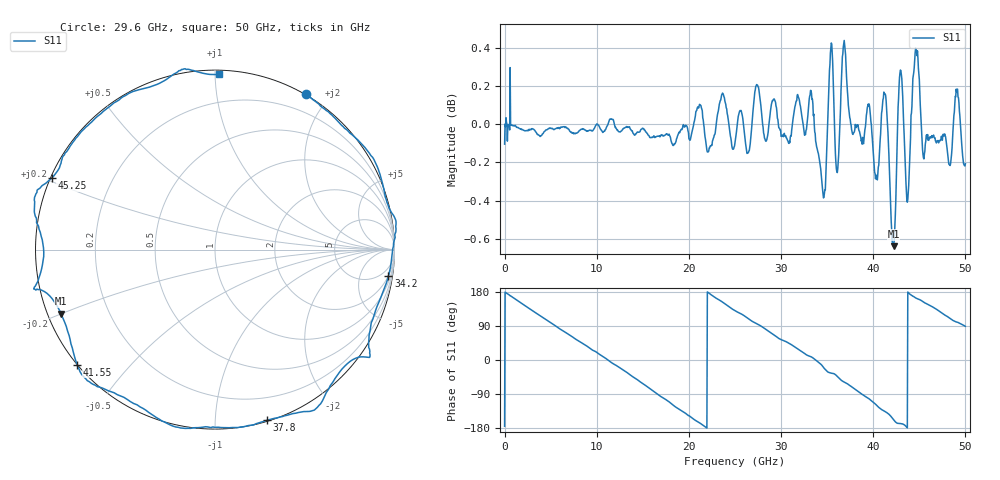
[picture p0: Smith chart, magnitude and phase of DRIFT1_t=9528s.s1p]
!Created with skrf (http://scikit-rf.org).
# Hz S RI R 50.0
!freq ReS11 ImS11
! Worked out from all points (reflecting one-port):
!   1001 points, 300 kHz to 50 GHz, reference 50 ohm
!   lowest |S11| = -0.6 dB at 42.2 GHz (marker M1), VSWR 27.24, Z = 1.91 - j9.96 ohm
!   phase of S11 starts at -175 deg and turns -816 deg over the sweep
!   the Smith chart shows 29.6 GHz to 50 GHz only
!   S11 on the Smith chart (normalised r, x): 29.6 GHz: -0.01, +1.74; 34.2 GHz: 2, -13; 37.8 GHz: 0.01, -1.35; 41.55 GHz: -0.00, -0.36; 45.25 GHz: 0.00, +0.21; 50 GHz: 0.02, +1.02
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300000  -0.9842 -0.0862
1.500291e9  -0.9057 0.4188
3.30028e9  -0.5805 0.8094
6.250262e9  0.2025 0.9776
9.500243e9  0.892 0.4431
1.250022e10  0.9319 -0.3492
1.580021e10  0.2376 -0.963
1.74002e10  -0.2238 -0.9678
1.875019e10  -0.5978 -0.7925
2.150017e10  -0.9927 -0.1486
2.350016e10  -0.922 0.4268
2.500015e10  -0.6348 0.7581
2.740014e10  -0.0955 1.019
2.960012e10  0.5061 0.8665
3.125011e10  0.7863 0.6202
3.30501e10  0.9981 0.1846
3.420009e10  0.9659 -0.1491
3.520009e10  0.861 -0.555
3.750008e10  0.3743 -0.9305
3.780007e10  0.2881 -0.9511
3.955006e10  -0.2185 -0.9883
4.155005e10  -0.769 -0.6402
4.220005e10  -0.8581 -0.3564
4.290004e10  -1.007 -0.2204
4.375004e10  -0.9556 0.0102
4.525003e10  -0.9109 0.3981
4.770001e10  -0.4917 0.8627
5e10  0.022 0.9762
